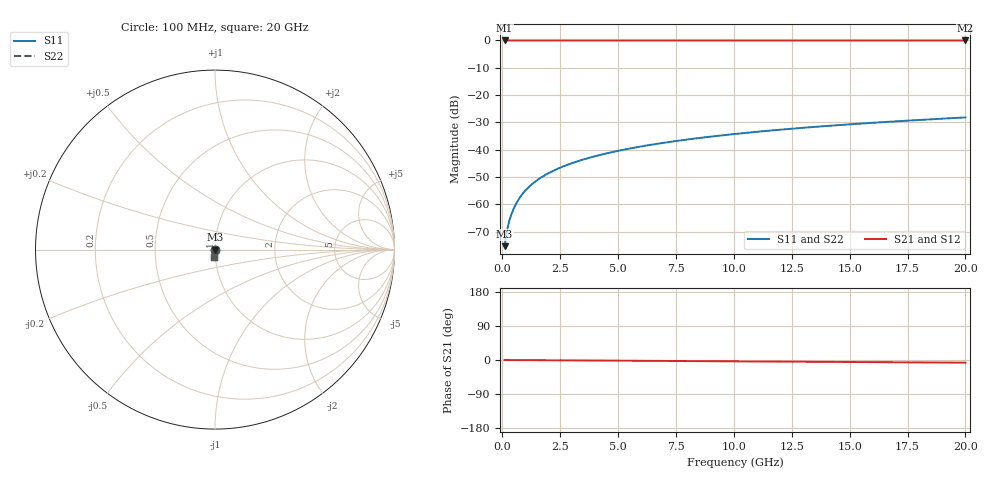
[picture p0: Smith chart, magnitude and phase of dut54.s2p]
! Touchstone file exported from HFSS 2026.1.0
!  File:  C:/ffzhzh/LocalFiles/Ansys_Project_Files/temp_train_TSV_54_1782958866_45568.aedt
!  Generated:  10:22:39 AM Jul  2, 2026
!  Design:  TSV
!  Project:  temp_train_TSV_54_1782958866_45568
! Variables:
!  h_bsmrdl = 2um
!  h_ox = 20um
!  h_rdl = 5um
!  h_sub = 67.19um
!  h_tmrdl = 5um
!  h_tsv = 67.19um
!  h_via = 3um
!  l_bsmrdl = 300um
!  l_sub = 429.12um
!  l_tmrdl = 200um
!  m_sub = 200um
!  pitch = 43.7um
!  r_tsv = 14.56um
!  s_tmrdl = 10um
!  w_bsmrdl = 18um
!  w_sub = 500um
!  w_tmrdl = 12um
!  x_tsv_center1 = 206um
!  x_tsv_center2 = 524um
!  x_tsv_center3 = 736um
!  x_tsv_center4 = 1054um
!  x_tsv_center5 = 1266um
!  x_tsv_center6 = 1584um
# GHz S MA R 50.000000
! Terminal data exported
! Port[1] = TSV1_1_T1
! Port[2] = TSV1_1_T2
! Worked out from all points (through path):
!   200 points, 100 MHz to 20 GHz, reference 50 ohm
!   highest |S21| = 0.00 dB at 100 MHz (marker M1); lowest = 0.0 dB at 20 GHz (marker M2)
!   lowest |S11| = -75.3 dB at 100 MHz (marker M3), VSWR 1.00, Z = 50 - j0.0157 ohm
!   |S11| at or under -10 dB: start of sweep to end of sweep
!   |S22| runs from -75.3 to -28.2 dB; largest |S21 - S12| = 1.1e-15
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0.1  0.0001717 -66.2  0.9999 -0.0  0.9999 -0.0  0.0001717 -66.2
! Gamma 0 0 0 0
! Port Impedance 50 0 50 0
0.2  0.0003282 -75.5  0.9999 -0.1  0.9999 -0.1  0.0003282 -75.5
0.3  0.0004947 -78.3  0.9999 -0.1  0.9999 -0.1  0.0004947 -78.3
0.4  0.0006689 -79.6  0.9999 -0.1  0.9999 -0.1  0.0006689 -79.6
0.5  0.0008493 -80.4  0.9999 -0.2  0.9999 -0.2  0.0008493 -80.4
0.7  0.001223 -81.6  0.9998 -0.3  0.9998 -0.3  0.001223 -81.6
0.8  0.001413 -82.2  0.9998 -0.3  0.9998 -0.3  0.001413 -82.2
1  0.001797 -83.1  0.9998 -0.4  0.9998 -0.4  0.001797 -83.1
1.2  0.002183 -83.9  0.9997 -0.4  0.9997 -0.4  0.002183 -83.9
1.4  0.00257 -84.6  0.9997 -0.5  0.9997 -0.5  0.00257 -84.6
1.7  0.003149 -85.4  0.9997 -0.6  0.9997 -0.6  0.003149 -85.4
2  0.003728 -86.0  0.9997 -0.7  0.9997 -0.7  0.003728 -86.0
2.7  0.005078 -87.1  0.9996 -1.0  0.9996 -1.0  0.005078 -87.1
3.5  0.006624 -87.9  0.9996 -1.2  0.9996 -1.2  0.006624 -87.9
4.2  0.007981 -88.5  0.9995 -1.5  0.9995 -1.5  0.007981 -88.5
5  0.009537 -89.0  0.9995 -1.8  0.9995 -1.8  0.009537 -89.0
6.8  0.01305 -90.0  0.9994 -2.4  0.9994 -2.4  0.01305 -90.0
8.3  0.016 -90.8  0.9993 -2.9  0.9993 -2.9  0.016 -90.8
10.1  0.01953 -91.6  0.9991 -3.6  0.9991 -3.6  0.01953 -91.6
13.4  0.02601 -93.1  0.9989 -4.7  0.9989 -4.7  0.02601 -93.1
16.7  0.0325 -94.4  0.9986 -5.9  0.9986 -5.9  0.0325 -94.4
20  0.03899 -95.7  0.9983 -7.0  0.9983 -7.0  0.03899 -95.7
